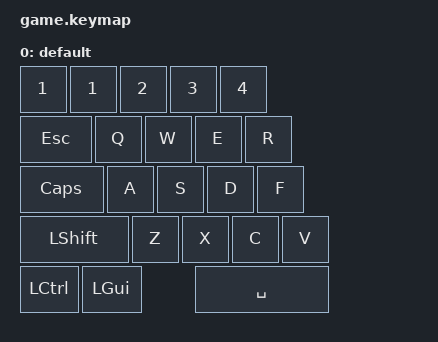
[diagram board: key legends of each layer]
/*
 * Copyright (c) 2020 The ZMK Contributors
 *
 * SPDX-License-Identifier: MIT
 */

#include <behaviors.dtsi>
#include <dt-bindings/zmk/keys.h>
#include <dt-bindings/zmk/bt.h>
#include <dt-bindings/zmk/outputs.h>

/ {
    keymap {
        compatible = "zmk,keymap";

        default {

           bindings = <
            &kp N1    &kp N1     &kp N2       &kp N3       &kp N4
            &kp ESC    &kp Q     &kp W       &kp E       &kp R      
            &kp CAPS   &kp A     &kp S       &kp D       &kp F      
            &kp LSHFT  &kp Z     &kp X       &kp C       &kp V      
            &kp LCTRL  &kp LGUI                          &kp SPACE  
            >;
        };

    };
};
